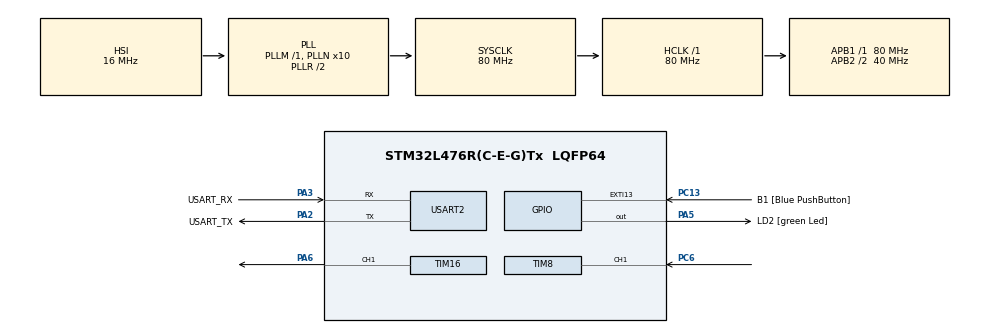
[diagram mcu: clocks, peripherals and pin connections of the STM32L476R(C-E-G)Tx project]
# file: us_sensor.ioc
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Mcu.Family=STM32L4
Mcu.Name=STM32L476R(C-E-G)Tx
Mcu.Package=LQFP64
NVIC.PriorityGroup=NVIC_PRIORITYGROUP_4
NVIC.TIM1_UP_TIM16_IRQn=true\:15\:0\:false\:false\:true\:false\:true\:true
PA13\ (JTMS-SWDIO).GPIO_Label=TMS
PA13\ (JTMS-SWDIO).Mode=Serial_Wire
PA13\ (JTMS-SWDIO).Signal=SYS_JTMS-SWDIO
PA14\ (JTCK-SWCLK).GPIO_Label=TCK
PA14\ (JTCK-SWCLK).Mode=Serial_Wire
PA14\ (JTCK-SWCLK).Signal=SYS_JTCK-SWCLK
PA2.GPIO_Label=USART_TX
PA2.GPIO_Mode=GPIO_MODE_AF_PP
PA2.GPIO_PuPd=GPIO_NOPULL
PA2.GPIO_Speed=GPIO_SPEED_FREQ_VERY_HIGH
PA2.Mode=Asynchronous
PA2.Signal=USART2_TX
PA3.GPIO_Label=USART_RX
PA3.GPIO_Mode=GPIO_MODE_AF_PP
PA3.GPIO_PuPd=GPIO_NOPULL
PA3.GPIO_Speed=GPIO_SPEED_FREQ_VERY_HIGH
PA3.Mode=Asynchronous
PA3.Signal=USART2_RX
PA5.GPIO_Label=LD2 [green Led]
PA5.GPIO_ModeDefaultOutputPP=GPIO_MODE_OUTPUT_PP
PA5.GPIO_PuPd=GPIO_NOPULL
PA5.GPIO_Speed=GPIO_SPEED_FREQ_LOW
PA5.Signal=GPIO_Output
PA6.Signal=S_TIM16_CH1
PB3\ (JTDO-TRACESWO).GPIO_Label=SWO
PB3\ (JTDO-TRACESWO).Signal=SYS_JTDO-SWO
PC13.GPIO_Label=B1 [Blue PushButton]
PC13.GPIO_ModeDefaultEXTI=GPIO_MODE_IT_FALLING
PC13.GPIO_PuPd=GPIO_NOPULL
PC13.Signal=GPXTI13
PC14-OSC32_IN\ (PC14).Mode=LSE-External-Oscillator
PC14-OSC32_IN\ (PC14).Signal=RCC_OSC32_IN
PC15-OSC32_OUT\ (PC15).Mode=LSE-External-Oscillator
PC15-OSC32_OUT\ (PC15).Signal=RCC_OSC32_OUT
PC6.Signal=S_TIM8_CH1
PH0-OSC_IN\ (PH0).Signal=RCC_OSC_IN
PH1-OSC_OUT\ (PH1).Signal=RCC_OSC_OUT
ProjectManager.HeapSize=0x200
ProjectManager.StackSize=0x400
ProjectManager.TargetToolchain=STM32CubeIDE
RCC.ADCFreq_Value=64000000
RCC.AHBFreq_Value=80000000
RCC.APB1Freq_Value=80000000
RCC.APB1TimFreq_Value=80000000
RCC.APB2CLKDivider=RCC_HCLK_DIV2
RCC.APB2Freq_Value=40000000
RCC.APB2TimFreq_Value=80000000
RCC.CortexFreq_Value=80000000
RCC.HCLKFreq_Value=80000000
RCC.HSE_VALUE=8000000
RCC.HSI_VALUE=16000000
RCC.MSI_VALUE=4000000
RCC.PLLN=10
RCC.PLLSourceVirtual=RCC_PLLSOURCE_HSI
RCC.PREFETCH_ENABLE=1
RCC.SYSCLKFreq_VALUE=80000000
RCC.SYSCLKSource=RCC_SYSCLKSOURCE_PLLCLK
RCC.USBFreq_Value=64000000
RCC.VCOOutputFreq_Value=160000000
SH.S_TIM16_CH1.0=TIM16_CH1,PWM Generation1 CH1
SH.S_TIM8_CH1.0=TIM8_CH1,Input_Capture1_from_TI1
SH.S_TIM8_CH1.1=TIM8_CH1,TriggerSource_TI1FP1
TIM16.Channel=TIM_CHANNEL_1
TIM16.Period=39999
TIM16.Prescaler=199
TIM8.Channel-Input_Capture1_from_TI1=TIM_CHANNEL_1
TIM8.ICPolarity_CH1=TIM_INPUTCHANNELPOLARITY_BOTHEDGE
TIM8.Prescaler=79
USART2.VirtualMode-Asynchronous=VM_ASYNC
VP_TIM16_VS_ClockSourceINT.Mode=Enable_Timer
VP_TIM8_VS_ControllerModeReset.Mode=Reset Mode
board=NUCLEO-L476RG

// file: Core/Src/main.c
/* USER CODE BEGIN Header */
/**
  ******************************************************************************
  * @file           : main.c
  * @brief          : Main program body
  ******************************************************************************
  * @attention
  *
  * Copyright (c) 2025 STMicroelectronics.
  * All rights reserved.
  *
  * This software is licensed under terms that can be found in the LICENSE file
  * in the root directory of this software component.
  * If no LICENSE file comes with this software, it is provided AS-IS.
  *
  ******************************************************************************
  */
/* USER CODE END Header */
#include "main.h"
#include "tim.h"
#include "usart.h"
#include "gpio.h"

/* USER CODE BEGIN Includes */
#include <stdio.h>
/* USER CODE END Includes */

/* USER CODE BEGIN PV */
uint32_t echo, delay;						// echo and delay variables
float dist, dist_int_part, dist_frac_part;	// distance variables
char buffer[100];								// buffer for UART2 transmit
/* USER CODE END PV */

void SystemClock_Config(void);

int main(void)
{

  /* MCU Configuration--------------------------------------------------------*/

  /* Reset of all peripherals, Initializes the Flash interface and the Systick. */
  HAL_Init();

  /* Configure the system clock */
  SystemClock_Config();

  /* Initialize all configured peripherals */
  MX_GPIO_Init();
  MX_TIM8_Init();
  MX_TIM16_Init();
  MX_USART2_UART_Init();
  /* USER CODE BEGIN 2 */

  // TIM11: Trigger
  // Trigger on for 10us and a period of 100ms.
  // 80MHz/200(Prescale) = 400kHz or 2.5us
  // 2.5us * 40,000(ARR) = 100ms
  // CCR1 set to 3 making 2.5us * (3+1) = 10us pulse

  HAL_TIM_Base_Start(&htim16);					// start TIM16
  HAL_TIM_Base_Start(&htim8);					// start TIM8
  HAL_TIM_PWM_Start(&htim16, TIM_CHANNEL_1);	// start PWM generation on TIM16
  HAL_TIM_IC_Start(&htim8, TIM_CHANNEL_1);		// TIM8 input capture

  TIM16->CCR1 = 3;	// set TIM16 CCR1 register to generate 10us signal every 100ms

  /* USER CODE END 2 */

  /* Infinite loop */
  /* USER CODE BEGIN WHILE */
  while (1)
  {
	  if (HAL_GetTick() - delay >= 100) {
		  delay = HAL_GetTick();									// get new delay value
		  echo = HAL_TIM_ReadCapturedValue(&htim8, TIM_CHANNEL_1);	// get new echo value

		  // calculate distance
		  dist = echo / 58.0f;
		  dist_int_part = (int)dist;
		  dist_frac_part = (int)((dist - dist_int_part) * 1000);

		  // write formatted string to buffer
		  snprintf(buffer, sizeof(buffer),
				  "echo = %d, distance = %4d.%04d\r\n",
				  (int)echo, dist_int_part, dist_frac_part);

		  // write buffer to UART2
		  HAL_UART_Transmit(&huart2, (uint8_t *)buffer, sizeof(buffer), 1000);
	  }
    /* USER CODE END WHILE */

  }
}

void SystemClock_Config(void)
{
  RCC_OscInitTypeDef RCC_OscInitStruct = {0};
  RCC_ClkInitTypeDef RCC_ClkInitStruct = {0};

  /** Configure the main internal regulator output voltage
  */
  if (HAL_PWREx_ControlVoltageScaling(PWR_REGULATOR_VOLTAGE_SCALE1) != HAL_OK)
  {
    Error_Handler();
  }

  /** Initializes the RCC Oscillators according to the specified parameters
  * in the RCC_OscInitTypeDef structure.
  */
  RCC_OscInitStruct.OscillatorType = RCC_OSCILLATORTYPE_HSI;
  RCC_OscInitStruct.HSIState = RCC_HSI_ON;
  RCC_OscInitStruct.HSICalibrationValue = RCC_HSICALIBRATION_DEFAULT;
  RCC_OscInitStruct.PLL.PLLState = RCC_PLL_ON;
  RCC_OscInitStruct.PLL.PLLSource = RCC_PLLSOURCE_HSI;
  RCC_OscInitStruct.PLL.PLLM = 1;
  RCC_OscInitStruct.PLL.PLLN = 10;
  RCC_OscInitStruct.PLL.PLLP = RCC_PLLP_DIV7;
  RCC_OscInitStruct.PLL.PLLQ = RCC_PLLQ_DIV2;
  RCC_OscInitStruct.PLL.PLLR = RCC_PLLR_DIV2;
  if (HAL_RCC_OscConfig(&RCC_OscInitStruct) != HAL_OK)
  {
    Error_Handler();
  }

  /** Initializes the CPU, AHB and APB buses clocks
  */
  RCC_ClkInitStruct.ClockType = RCC_CLOCKTYPE_HCLK|RCC_CLOCKTYPE_SYSCLK
                              |RCC_CLOCKTYPE_PCLK1|RCC_CLOCKTYPE_PCLK2;
  RCC_ClkInitStruct.SYSCLKSource = RCC_SYSCLKSOURCE_PLLCLK;
  RCC_ClkInitStruct.AHBCLKDivider = RCC_SYSCLK_DIV1;
  RCC_ClkInitStruct.APB1CLKDivider = RCC_HCLK_DIV1;
  RCC_ClkInitStruct.APB2CLKDivider = RCC_HCLK_DIV2;

  if (HAL_RCC_ClockConfig(&RCC_ClkInitStruct, FLASH_LATENCY_4) != HAL_OK)
  {
    Error_Handler();
  }
}

void Error_Handler(void)
{
  __disable_irq();
  while (1)
  {
  }
}
